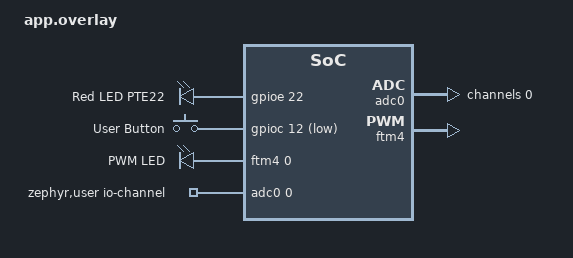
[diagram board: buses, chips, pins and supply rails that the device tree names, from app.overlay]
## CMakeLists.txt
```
cmake_minimum_required(VERSION 3.20.0)
find_package(Zephyr REQUIRED HINTS $ENV{ZEPHYR_BASE})
project(button_led)

target_sources(app PRIVATE src/main.c)

board_runner_args(jlink "--tool-opt=")
```

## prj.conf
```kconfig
CONFIG_GPIO=y
CONFIG_ADC=y
CONFIG_PWM=y
CONFIG_PRINTK=y
```

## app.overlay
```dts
#include <zephyr/dt-bindings/gpio/gpio.h>
#include <zephyr/dt-bindings/pwm/pwm.h>
#include <zephyr/dt-bindings/adc/adc.h>

/ {
    aliases {
        led0 = &led_pte22;
        sw0 = &button_sw0;
        pwm-led0 = &pwm_led0;
    };

    leds {
        compatible = "gpio-leds";
        led_pte22: led_0 {
            /* Kırmızı LED - PTE22 pini */
            gpios = <&gpioe 22 GPIO_ACTIVE_HIGH>;
            label = "Red LED PTE22";
        };
    };

    buttons {
        compatible = "gpio-keys";
        button_sw0: button_0 {
            /* Buton - PTC12 pini (Dahili Pull-Up ile) */
            gpios = <&gpioc 12 (GPIO_ACTIVE_LOW | GPIO_PULL_UP)>;
            label = "User Button";
        };
    };

    pwmleds {
        compatible = "pwm-leds";
        pwm_led0: pwm_led_0 {
            /* FTM4 Modülü, Kanal 0 */
            pwms = <&ftm4 0 PWM_MSEC(1) PWM_POLARITY_NORMAL>;
            label = "PWM LED";
        };
    };

    zephyr,user {
        io-channels = <&adc0 0>; 
    };
};

&adc0 {
    status = "okay";
    #address-cells = <1>;
    #size-cells = <0>;

    channel@0 {
        reg = <0>;
        zephyr,gain = "ADC_GAIN_1";
        zephyr,reference = "ADC_REF_INTERNAL";
        zephyr,acquisition-time = <ADC_ACQ_TIME_DEFAULT>;
        zephyr,resolution = <12>; 
    };
};

&ftm4 {
    status = "okay";
};
```

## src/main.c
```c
#include <zephyr/kernel.h>
#include <zephyr/drivers/gpio.h>

#define LED0_NODE DT_ALIAS(led0)
#define SW0_NODE  DT_ALIAS(sw0)

static const struct gpio_dt_spec led = GPIO_DT_SPEC_GET(LED0_NODE, gpios);
static const struct gpio_dt_spec button = GPIO_DT_SPEC_GET(SW0_NODE, gpios);

int main(void)
{
    int ret;

    if (!device_is_ready(led.port) || !device_is_ready(button.port)) {
        return 0;
    }

    // LED'i çıkış olarak ayarla ve başlangıçta söndür
    ret = gpio_pin_configure_dt(&led, GPIO_OUTPUT_INACTIVE);
    if (ret < 0) {
        return 0;
    }

    // Butonu giriş olarak ayarla
    ret = gpio_pin_configure_dt(&button, GPIO_INPUT);
    if (ret < 0) {
        return 0;   
    }

    while (1) {
        // Buton durumunu oku (Basılı: 1, Serbest: 0)
        int val = gpio_pin_get_dt(&button);
        gpio_pin_set_dt(&led,0);

        if (val == 0) {
            
            gpio_pin_set_dt(&led, 1);
        }
        else
        {
            gpio_pin_set_dt(&led,0);
        }
        // İşlemci yükünü azaltmak ve ark (debounce) önlemek için kısa gecikme
        k_msleep(10);
    }
    return 0;
}
```
